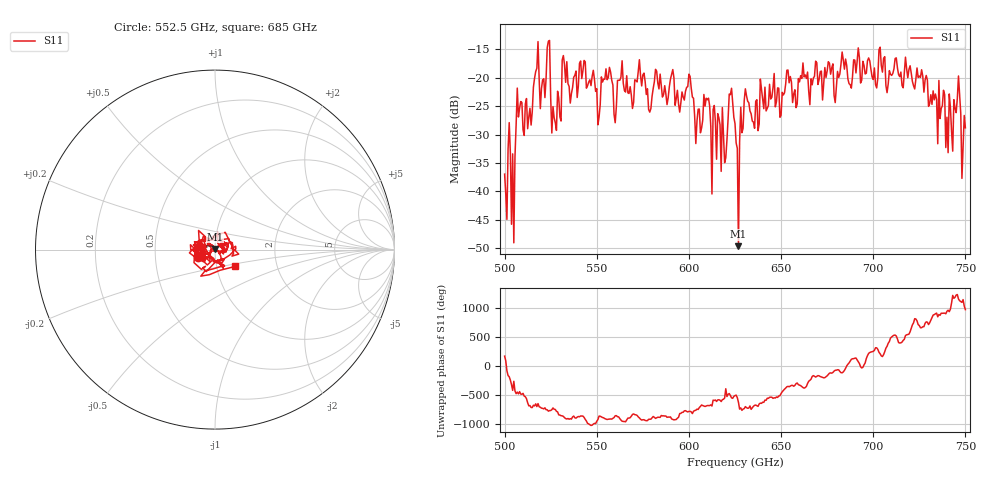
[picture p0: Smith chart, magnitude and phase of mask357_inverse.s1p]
!Created with skrf (http://scikit-rf.org).
# GHz S MA R 50.0
!freq magS11 angS11
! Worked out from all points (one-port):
!   401 points, 500 GHz to 750 GHz, reference 50 ohm
!   lowest |S11| = -49.6 dB at 626.9 GHz (marker M1), VSWR 1.01, Z = 50 + j0.329 ohm
!   |S11| at or under -10 dB: start of sweep to end of sweep
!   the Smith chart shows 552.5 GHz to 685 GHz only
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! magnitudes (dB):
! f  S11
! 500 GHz  -37.0
! 503.1 GHz  -33.3
! 504.4 GHz  -33.4
! 507.5 GHz  -26.9
! 513.8 GHz  -25.4
! 516.9 GHz  -18.9
! 520.6 GHz  -20.4
! 523.8 GHz  -13.6
! 526.9 GHz  -27.0
! 531.2 GHz  -16.9
! 542.5 GHz  -18.8
! 550.6 GHz  -28.3
! 562.5 GHz  -20.5
! 593.8 GHz  -22.2
! 600 GHz  -19.4
! 605 GHz  -25.6
! 609.4 GHz  -23.6
! 618.8 GHz  -30.0
! 623.1 GHz  -21.9
! 625 GHz  -28.1
! 626.9 GHz  -49.6
! 631.2 GHz  -23.2
! 656.2 GHz  -24.4
! 687.5 GHz  -21.2
! 718.8 GHz  -20.0
! 741.9 GHz  -25.3
! 746.2 GHz  -19.7
! 750 GHz  -28.8
